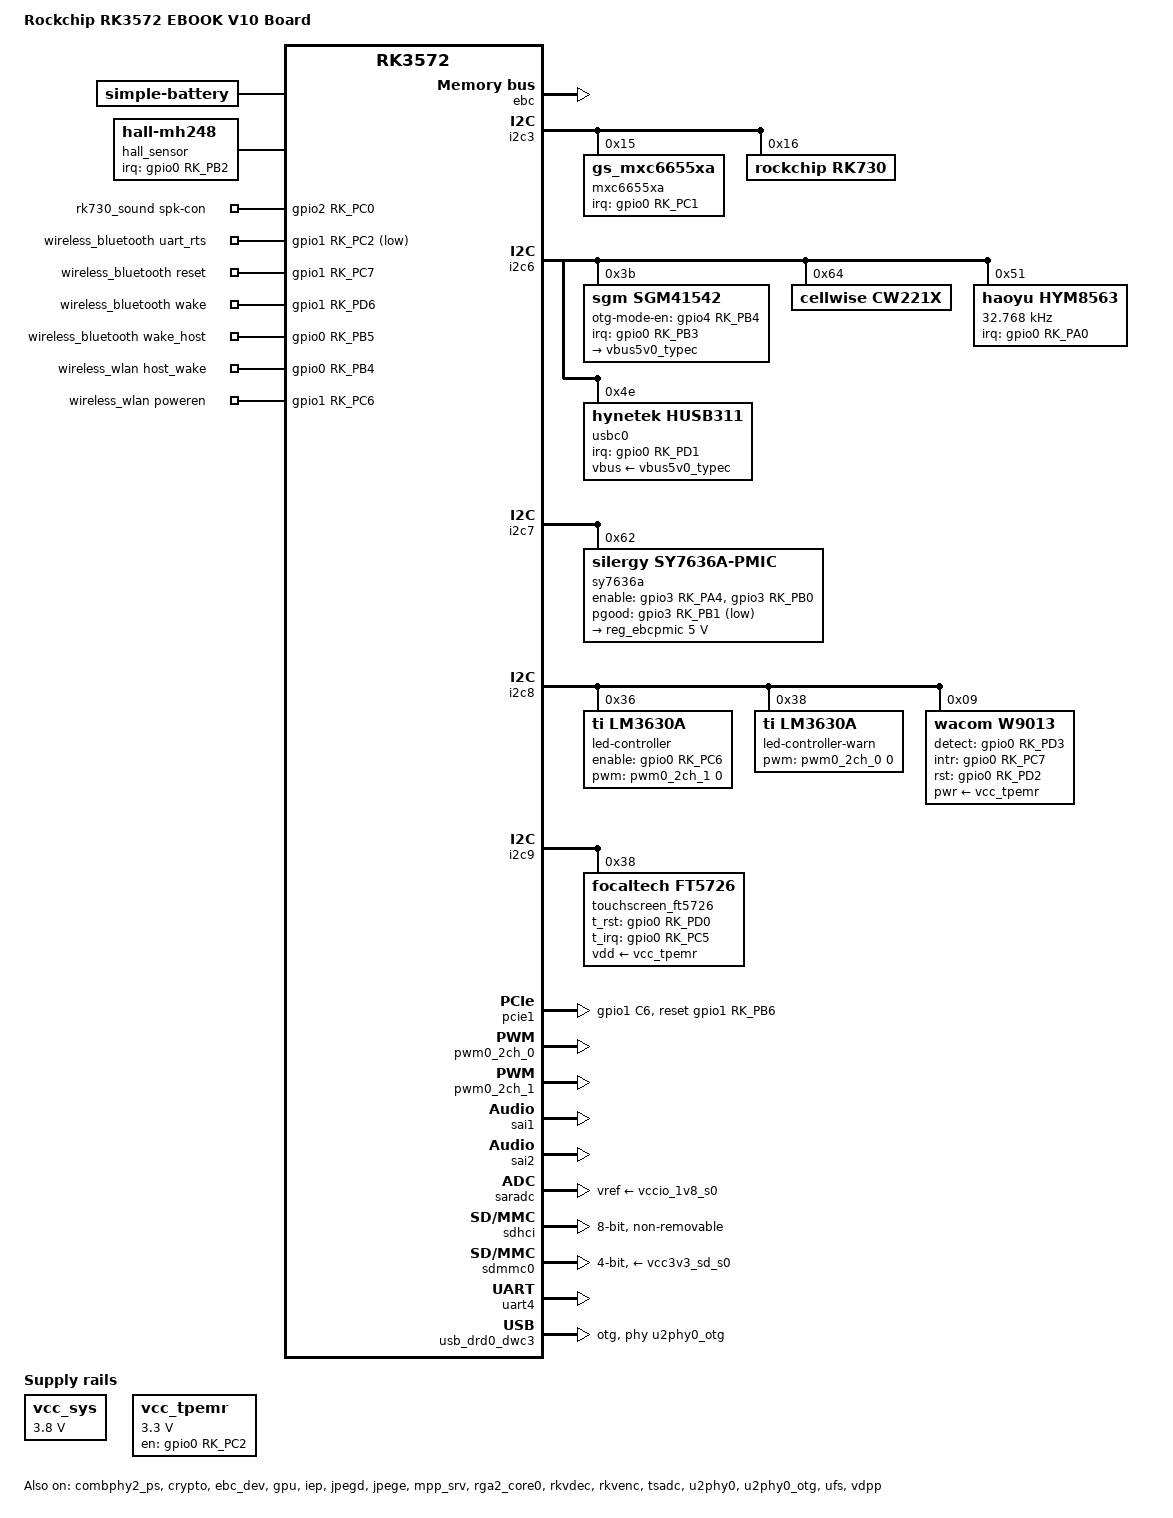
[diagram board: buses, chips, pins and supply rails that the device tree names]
// SPDX-License-Identifier: (GPL-2.0+ OR MIT)
/*
 * Copyright (c) 2026 Rockchip Electronics Co., Ltd.
 *
 */

/dts-v1/;

#include <dt-bindings/display/drm_mipi_dsi.h>
#include <dt-bindings/display/rockchip_vop.h>
#include <dt-bindings/gpio/gpio.h>
#include <dt-bindings/input/rk-input.h>
#include <dt-bindings/pinctrl/rockchip.h>
#include <dt-bindings/pwm/pwm.h>
#include <dt-bindings/sensor-dev.h>
#include <dt-bindings/usb/pd.h>
#include "rk3572.dtsi"
#include "rk3572-android.dtsi"
#include "rk3572-ebook.dtsi"

/ {
	model = "Rockchip RK3572 EBOOK V10 Board";
	compatible = "rockchip,rk3572-ebook-v10", "rockchip,rk3572";

	bat: battery {
		compatible = "simple-battery";
		charge-full-design-microamp-hours = <8000000>;
		precharge-current-microamp = <180000>;
		precharge-upper-limit-microvolt = <3600000>;
		charge-term-current-microamp = <300000>;
		constant-charge-current-max-microamp = <10000000>;
		constant-charge-voltage-max-microvolt = <4350000>;
		factory-internal-resistance-micro-ohms = <80>;
		voltage-max-design-microvolt = <4350000>;
		voltage-min-design-microvolt = <3000000>;
	};

	bt_sco: bt-sco {
		status = "okay";
		compatible = "delta,dfbmcs320";
		#sound-dai-cells = <1>;
	};

	bt_sound: bt-sound {
		status = "okay";
		compatible = "simple-audio-card";
		simple-audio-card,format = "dsp_a";
		simple-audio-card,bitclock-inversion;
		simple-audio-card,mclk-fs = <256>;
		simple-audio-card,name = "rockchip,bt";
		simple-audio-card,cpu {
			sound-dai = <&sai2>;
		};
		simple-audio-card,codec {
			sound-dai = <&bt_sco 1>;
		};
	};

	charge-animation {
		compatible = "rockchip,uboot-charge";
		rockchip,uboot-charge-on = <1>;
		rockchip,android-charge-on = <0>;
		rockchip,uboot-low-power-voltage = <3450>;
		rockchip,screen-on-voltage = <3500>;
		rockchip,uboot-exit-charge-level = <2>;
		rockchip,uboot-exit-charge-voltage = <3500>;
		rockchip,uboot-exit-charge-auto = <1>;
		status = "okay";
	};

	charger-manager {
		compatible = "rockchip-charger-manager";
		cm-name = "battery";
		cm-poll-mode = <2>;
		cm-poll-interval = <1000>;

		cm-chargers = "sgm4154x-charger";
		cm-chargers-phandle = <&usbc0>;
		cm-fuel-gauge = "cw221X-bat";
		monitored-battery = <&bat>;
		extcon = <&u2phy0>;
		cm-jeita-temp-charge-table = <0 15 2400000 4400000>, <15 45 10000000 4400000>, <45 60 6000000 4200000>;
	};

	hall_sensor: hall-mh248 {
		compatible = "hall-mh248";
		pinctrl-names = "default";
		pinctrl-0 = <&mh248_irq_gpio>;
		irq-gpio = <&gpio0 RK_PB2 IRQ_TYPE_EDGE_BOTH>;
		hall-active = <1>;
		status = "okay";

		//for ebook ultra sleep config
		pmu-gpio-regs-base = <0x26300000>; //gpio0 base
		pmu-gpio-regs-size = <0x200>; //gpio0 register size
		pmu-gpio-int-reg = <0x50>; //gpio int status register
		pmu-gpio-rtc-int-mask = <0x01>; //GPIO0_A0, rtc int
		pmu-gpio-pmic-int-mask = <0x40>; //GPIO0_A6, pmic int
	};

	rk730_sound: rk730-sound {
		status = "okay";
		compatible = "rockchip,multicodecs-card";
		rockchip,card-name = "rockchip-rk730";
		spk-con-gpio = <&gpio2 RK_PC0 GPIO_ACTIVE_HIGH>;
		rockchip,pre-power-on-delay-ms = <30>;
		rockchip,post-power-down-delay-ms = <40>;
		rockchip,format = "i2s";
		rockchip,mclk-fs = <256>;
		rockchip,cpu = <&sai1>;
		rockchip,codec = <&rk730>;
		rockchip,audio-routing =
				"Headphone", "LOUT1",
				"Headphone", "ROUT1",
				"Speaker", "LOUT2",
				"Speaker", "ROUT2",
				"Headphone", "Headphone Power",
				"Headphone", "Headphone Power",
				"Speaker", "Speaker Power",
				"Speaker", "Speaker Power",
				"MIC2", "Main Mic",
				"MIC1", "Headset Mic";
		pinctrl-names = "default";
		pinctrl-0 = <&spk_con_h>;
	};

	vcc_sys: vcc-sys {
		compatible = "regulator-fixed";
		regulator-name = "vcc_sys";
		regulator-always-on;
		regulator-boot-on;
		regulator-min-microvolt = <3800000>;
		regulator-max-microvolt = <3800000>;
	};

	vcc_tpemr: vcc-tpemr {
		compatible = "regulator-fixed";
		enable-active-high;
		gpio = <&gpio0 RK_PC2 GPIO_ACTIVE_HIGH>;
		pinctrl-names = "default";
		pinctrl-0 = <&vcc_tpemr_en>;
		regulator-name = "vcc_tpemr";
		regulator-boot-on;
		startup-delay-us = <10000>;
		regulator-min-microvolt = <3300000>;
		regulator-max-microvolt = <3300000>;
	};

	vkms {
		compatible = "rockchip,vkms";
		rockchip,vkms-crtc-num = <1>;
		rockchip,vkms-conn-disconnected = <0>;
	};

	wireless_bluetooth: wireless-bluetooth {
		compatible = "bluetooth-platdata";
		bt_port = "/dev/ttyS4";
		clocks = <&hym8563>;
		clock-names = "ext_clock";
		uart_rts-gpios = <&gpio1 RK_PC2 GPIO_ACTIVE_LOW>;
		pinctrl-names = "default", "rts_gpio";
		pinctrl-0 = <&uart4m1_rtsn_pins>;
		pinctrl-1 = <&uart4_gpios>;
		BT,reset-gpios    = <&gpio1 RK_PC7 GPIO_ACTIVE_HIGH>;
		BT,wake-gpios     = <&gpio1 RK_PD6 GPIO_ACTIVE_HIGH>;
		BT,wake_host-gpios = <&gpio0 RK_PB5 GPIO_ACTIVE_HIGH>;
		status = "okay";
	};

	wireless_wlan: wireless-wlan {
		compatible = "wlan-platdata";
		wifi_chip_type = "ap6275p";
		pinctrl-names = "default";
		pinctrl-0 = <&wifi_host_wake_irq>;
		WIFI,host_wake-gpios = <&gpio0 RK_PB4 GPIO_ACTIVE_HIGH>;
		WIFI,poweren-gpios = <&gpio1 RK_PC6 GPIO_ACTIVE_HIGH>;
		status = "okay";
	};
};

&combphy2_ps {
	status = "okay";
};

&cpu_l0 {
	cpu-supply = <&vdd_cpu_lit_s0>;
};

&cpu_l4 {
	cpu-supply = <&vdd_cpu_lit_s0>;
};

&cpu_b0 {
	cpu-supply = <&vdd_cpu_big_s0>;
};

&crypto {
	status = "okay";
};

&ebc {
	pinctrl-names = "default";
	pinctrl-0 = <&ebc_16bit_pins>;
	status = "okay";
};

&ebc_dev {
	pmic = <&sy7636a>;
	status = "okay";

	panel,width = <1872>;
	panel,height = <1404>;
	panel,vir_width = <1872>;
	panel,vir_height = <1404>;
	panel,sdck = <34000000>;
	panel,lsl = <18>;
	panel,lbl = <17>;
	panel,ldl = <234>;
	panel,lel = <7>;
	panel,gdck-sta = <34>;
	panel,lgonl = <192>;
	panel,fsl = <1>;
	panel,fbl = <4>;
	panel,fdl = <1404>;
	panel,fel = <12>;
	panel,mirror = <1>;
	panel,panel_16bit = <1>;
	panel,panel_color = <0>;
	panel,width-mm = <157>;
	panel,height-mm = <210>;
};

&gpu {
	mali-supply = <&vdd_npu_gpu_s0>;
	status = "okay";
};

&i2c3 {
	status = "okay";
	pinctrl-names = "default";

	mxc6655xa: mxc6655xa@15 {
		status = "okay";
		compatible = "gs_mxc6655xa";
		pinctrl-names = "default";
		pinctrl-0 = <&mxc6655xa_irq_pin>;
		reg = <0x15>;
		irq-gpio = <&gpio0 RK_PC1 IRQ_TYPE_LEVEL_LOW>;
		irq_enable = <0>;
		poll_delay_ms = <30>;
		type = <SENSOR_TYPE_ACCEL>;
		power-off-in-suspend = <1>;
		layout = <7>;
		reprobe_en = <1>;
		wakeup-source;
	};

	rk730: rk730@16 {
		#sound-dai-cells = <0>;
		compatible = "rockchip,rk730";
		reg = <0x16>;
		clocks = <&mclkout_sai1>;
		clock-names = "mclk";
		assigned-clocks = <&mclkout_sai1>;
		assigned-clock-rates = <12288000>;
		pinctrl-names = "default";
		pinctrl-0 = <&sai1m0_mclk_pins>;
		status = "okay";
	};
};

&i2c6 {
	status = "okay";
	pinctrl-names = "default";
	pinctrl-0 = <&i2c6m3_xfer_pins>;

	sgm41542: sgm41542@3b {
		compatible = "sgm,sgm41542";
		reg = <0x3b>;
		pinctrl-names = "default";
		pinctrl-0 = <&charger_ok>;
		interrupt-parent = <&gpio0>;
		interrupts = <RK_PB3 IRQ_TYPE_EDGE_FALLING>;
		otg-mode-en-gpios = <&gpio4 RK_PB4 GPIO_ACTIVE_HIGH>;
		input-voltage-limit-microvolt = <4500000>;
		input-current-limit-microamp = <3000000>;
		monitored-battery = <&bat>;
		regulators {
			vbus5v0_typec: vbus5v0-typec {
				regulator-compatible = "otg-vbus";
				regulator-name = "vbus5v0_typec";
			};
		};
	};

	cw221X@64 {
		compatible = "cellwise,cw221X";
		reg = <0x64>;
		status = "okay";
		cw,user_rsense = <2000>;
	};

	hym8563: hym8563@51 {
		compatible = "haoyu,hym8563";
		reg = <0x51>;
		#clock-cells = <0>;
		clock-frequency = <32768>;
		clock-output-names = "hym8563";
		pinctrl-names = "default";
		pinctrl-0 = <&rtc_int>;

		interrupt-parent = <&gpio0>;
		interrupts = <RK_PA0 IRQ_TYPE_LEVEL_LOW>;
		wakeup-source;
		status = "okay";
	};

	usbc0: husb311@4e {
		compatible = "hynetek,husb311";
		reg = <0x4e>;
		interrupt-parent = <&gpio0>;
		interrupts = <RK_PD1 IRQ_TYPE_LEVEL_LOW>;
		pinctrl-names = "default";
		pinctrl-0 = <&usbc0_int>;
		vbus-supply = <&vbus5v0_typec>;
		status = "okay";

		usb_con: connector {
			compatible = "usb-c-connector";
			label = "USB-C";
			data-role = "dual";
			power-role = "dual";
			try-power-role = "sink";
			op-sink-microwatt = <1000000>;
			orientation-switch = <&u2phy0>;
			usb-role-switch = <&usb_drd0_dwc3>;

			sink-pdos =
				<PDO_FIXED(5000, 3000, PDO_FIXED_DATA_SWAP | PDO_FIXED_USB_COMM | PDO_FIXED_EXTPOWER | PDO_FIXED_DUAL_ROLE)
				 PDO_FIXED(9000, 3000, PDO_FIXED_USB_COMM)
				 PDO_FIXED(12000, 3000, PDO_FIXED_USB_COMM)>;
			source-pdos =
				<PDO_FIXED(5000, 3000, PDO_FIXED_DATA_SWAP | PDO_FIXED_USB_COMM | PDO_FIXED_EXTPOWER | PDO_FIXED_DUAL_ROLE)>;

		};
	};
};

&i2c7 {
	status = "okay";
	pinctrl-names = "default";
	pinctrl-0 = <&i2c7m2_xfer_pins>;

	sy7636a: sy7636a@62 {
		compatible = "silergy,sy7636a-pmic";
		reg = <0x62>;
		status = "okay";

		pinctrl-names = "default";
		pinctrl-0 = <&sy7636a_default>;

		enable-gpios = <&gpio3 RK_PA4 GPIO_ACTIVE_HIGH>, <&gpio3 RK_PB0 GPIO_ACTIVE_HIGH>;
		pgood-gpio = <&gpio3 RK_PB1 GPIO_ACTIVE_LOW>;

		thermal-zone = "ebcpmic-thermal";
		#thermal-sensor-cells = <0>;

		regulators {
			compatible = "sy7636a-regulator";
			reg_ebcpmic: vcom {
				regulator-name = "vcom";
				regulator-min-microvolt = <0>;
				regulator-max-microvolt = <5000000>;
				regulator-boot-on;
				regulator-state-mem {
					regulator-off-in-suspend;
				};
			};
		};

		sy7636a_thermal: sy7636a_thermal {
			compatible = "sy7636a-thermal";
		};
	};
};

&i2c8 {
	status = "okay";
	pinctrl-names = "default";
	pinctrl-0 = <&i2c8m2_xfer_pins>;

	led-controller@36 {
		compatible = "ti,lm3630a";
		reg = <0x36>;
		enable-gpios = <&gpio0 RK_PC6 GPIO_ACTIVE_HIGH>;
		pinctrl-0 = <&backlight_hwen_h>;
		pinctrl-names = "default";
		pwm-names = "lm3630a-pwm";
		pwms = <&pwm0_2ch_1 0 25000 0>;
		#address-cells = <1>;
		#size-cells = <0>;
		led@0 {
			reg = <0>;
			/* led b on a */
			led-sources = <0>, <1>;
			label = "backlight_warm";
			default-brightness = <150>;
			ti,linear-mapping-mode;
		};
	};

	led-controller-warn@38 {
		compatible = "ti,lm3630a";
		reg = <0x38>;
		/*enable-gpios = <&gpio0 RK_PC6 GPIO_ACTIVE_HIGH>;*/
		/*pinctrl-0 = <&backlight_hwen_h>;*/
		/*pinctrl-names = "default";*/
		pwm-names = "lm3630a-pwm";
		pwms = <&pwm0_2ch_0 0 25000 0>;
		#address-cells = <1>;
		#size-cells = <0>;
		led@0 {
			reg = <0>;
			/* led b on a */
			led-sources = <0>, <1>;
			label = "backlight";
			default-brightness = <150>;
			ti,linear-mapping-mode;
		};
	};

	wacom: wacom@9 {
		compatible = "wacom,w9013";
		reg = <0x09>;
		pwr-supply = <&vcc_tpemr>;
		pinctrl-names = "default";
		pinctrl-0 = <&wacom_gpio>;
		gpio_detect = <&gpio0 RK_PD3 GPIO_ACTIVE_HIGH>;
		gpio_intr = <&gpio0 RK_PC7 GPIO_ACTIVE_HIGH>;
		gpio_rst = <&gpio0 RK_PD2 GPIO_ACTIVE_HIGH>;
		revert_x = <1>;
		revert_y = <1>;
		xy_exchange = <0>;
	};
};

&i2c9 {
	status = "okay";
	pinctrl-names = "default";
	pinctrl-0 = <&i2c9m2_xfer_pins>;

	touchscreen_ft5726: ft5726@38 {
		status = "okay";
		compatible = "focaltech,ft5726";
		reg = <0x38>;
		vdd-supply = <&vcc_tpemr>;
		pinctrl-names = "default";
		pinctrl-0 = <&touch_gpio>;
		t_rst-gpios = <&gpio0 RK_PD0 GPIO_ACTIVE_HIGH>;
		t_irq-gpios = <&gpio0 RK_PC5 IRQ_TYPE_LEVEL_LOW>;
		focaltech,max-touch-number = <5>;
		focaltech,display-coords =  <0 0 1872 1404>;
		focaltech,revert_x_flag = <1>;
		focaltech,revert_y_flag = <1>;
		focaltech,exchange_x_y_flag = <0>;
	};
};

&iep {
	status = "okay";
};

&iep_mmu {
	status = "okay";
};

&jpegd {
	status = "okay";
};

&jpege {
	status = "okay";
};

&jpeg_mmu {
	status = "okay";
};

&mpp_srv {
	status = "okay";
};

&pcie1 {
	reset-gpios = <&gpio1 RK_PB6 GPIO_ACTIVE_HIGH>;
	rockchip,skip-scan-in-resume;
	rockchip,s2r-perst-inactive-ms = <1>;
	pinctrl-names = "default";
	pinctrl-0 = <&wifi_poweren_gpio>;
	status = "okay";
};

&pinctrl {
	audio-amplifier {
		spk_con_h: spk-con-h {
			rockchip,pins = <2 RK_PC0 RK_FUNC_GPIO &pcfg_pull_none>;
		};
	};

	backlight {
		backlight_hwen_h: backlight_hwen_h {
			rockchip,pins =	<0 RK_PC6 RK_FUNC_GPIO &pcfg_pull_up>;
		};
	};

	charger {
		charger_ok: charger_ok {
			rockchip,pins =
					<0 RK_PB3 RK_FUNC_GPIO &pcfg_pull_up>,
					<2 RK_PD0 RK_FUNC_GPIO &pcfg_pull_up>;
		};
	};

	gsensor {
		mxc6655xa_irq_pin: mxc6655xa_irq_pin {
			rockchip,pins = <0 RK_PC1 RK_FUNC_GPIO &pcfg_pull_up>;
		};
	};

	hall {
		mh248_irq_gpio: mh248-irq-gpio {
			rockchip,pins = <0 RK_PB2 RK_FUNC_GPIO &pcfg_pull_up>;
		};
	};

	rtc {
		rtc_int: rtc-int {
			rockchip,pins = <0 RK_PA0 RK_FUNC_GPIO &pcfg_pull_up>;
		};
	};

	sy7636a {
		sy7636a_default: sy7636a_default {
			rockchip,pins =
					<3 RK_PA4 RK_FUNC_GPIO &pcfg_pull_up>,
					<3 RK_PB0 RK_FUNC_GPIO &pcfg_pull_up>,
					<3 RK_PB1 RK_FUNC_GPIO &pcfg_pull_none>;
		};
	};

	touch {
		touch_gpio: touch-gpio {
			rockchip,pins =
					<0 RK_PC5 RK_FUNC_GPIO &pcfg_pull_up>,
					<0 RK_PD0 RK_FUNC_GPIO &pcfg_pull_up>;
		};
	};

	touch-pen {
		wacom_gpio: wacom-gpio {
			rockchip,pins =
					<0 RK_PD2 RK_FUNC_GPIO &pcfg_pull_none>,
					<0 RK_PC7 RK_FUNC_GPIO &pcfg_pull_up>,
					<0 RK_PD3 RK_FUNC_GPIO &pcfg_pull_up>;
		};

		vcc_tpemr_en: vcc-tpemr-en {
			rockchip,pins = <0 RK_PC2 RK_FUNC_GPIO &pcfg_pull_none>;
		};
	};

	usb {
		usbc0_int: usbc0-int {
			rockchip,pins = <0 RK_PD1 RK_FUNC_GPIO &pcfg_pull_up>;
		};
	};

	wireless-bluetooth {
		uart4_gpios: uart4-gpios {
			rockchip,pins = <1 RK_PC2 RK_FUNC_GPIO &pcfg_pull_none>;
		};
	};

	wireless-wlan {
		wifi_host_wake_irq: wifi-host-wake-irq {
			rockchip,pins = <0 RK_PB4 RK_FUNC_GPIO &pcfg_pull_down>;
		};

		wifi_poweren_gpio: wifi-poweren-gpio {
			rockchip,pins = <1 RK_PC6 RK_FUNC_GPIO &pcfg_pull_up>;
		};
	};
};

&pwm0_2ch_0 {
	status = "okay";
};

&pwm0_2ch_1 {
	status = "okay";
};

&rga2_core0 {
	status = "okay";
};

&rga2_core0_mmu {
	status = "okay";
};

&rkvdec {
	status = "okay";
};

&rkvdec_mmu {
	status = "okay";
};

&rkvenc {
	status = "okay";
};

&rkvenc_mmu {
	status = "okay";
};

&sai1 {
	status = "okay";
	pinctrl-names = "default";
	pinctrl-0 = <&sai1m0_lrck_pins
		     &sai1m0_sclk_pins
		     &sai1m0_sdi0_pins
		     &sai1m0_sdo0_pins>;
};

&sai2 {
	status = "okay";
};

&saradc {
	status = "okay";
	vref-supply = <&vccio_1v8_s0>;
};

&sdhci {
	bus-width = <8>;
	no-sdio;
	no-sd;
	non-removable;
	max-frequency = <200000000>;
	mmc-hs400-1_8v;
	mmc-hs400-enhanced-strobe;
	full-pwr-cycle-in-suspend;
	status = "okay";
};

&sdmmc0 {
	max-frequency = <200000000>;
	no-sdio;
	no-mmc;
	bus-width = <4>;
	cap-mmc-highspeed;
	cap-sd-highspeed;
	disable-wp;
	sd-uhs-sdr104;
	vmmc-supply = <&vcc3v3_sd_s0>;
	vqmmc-supply = <&vccio_sd_s0>;
	status = "okay";
};

&thermal_zones {
	ebcpmic_thermal: ebcpmic-thermal {
		polling-delay = <0>;
		polling-delay-passive = <0>;
		thermal-sensors = <&sy7636a>;

		trips {
			sy7636a_dummy_trip: sy7636a-dummy-trip {
				temperature = <100000>;
				hysteresis = <0>;
				type = "hot";
			};
		};
	};
};

&tsadc {
	status = "okay";
};

&u2phy0 {
	orientation-switch;
	status = "okay";
};

&u2phy0_otg {
	rockchip,typec-vbus-det;
	status = "okay";
};

&uart4 {
	status = "okay";
	pinctrl-names = "default";
	pinctrl-0 = <&uart4m1_xfer_pins &uart4m1_ctsn_pins>;
};

&ufs {
	reset-gpios = <&gpio4 RK_PC0 GPIO_ACTIVE_HIGH>;
	status = "okay";
};

&usb_drd0_dwc3 {
	dr_mode = "otg";
	maximum-speed = "high-speed";
	phys = <&u2phy0_otg>;
	phy-names = "usb2-phy";
	snps,dis_u2_susphy_quirk;
	snps,usb2-lpm-disable;
	usb-role-switch;
	status = "okay";
};

&vdpp {
	status = "okay";
};
